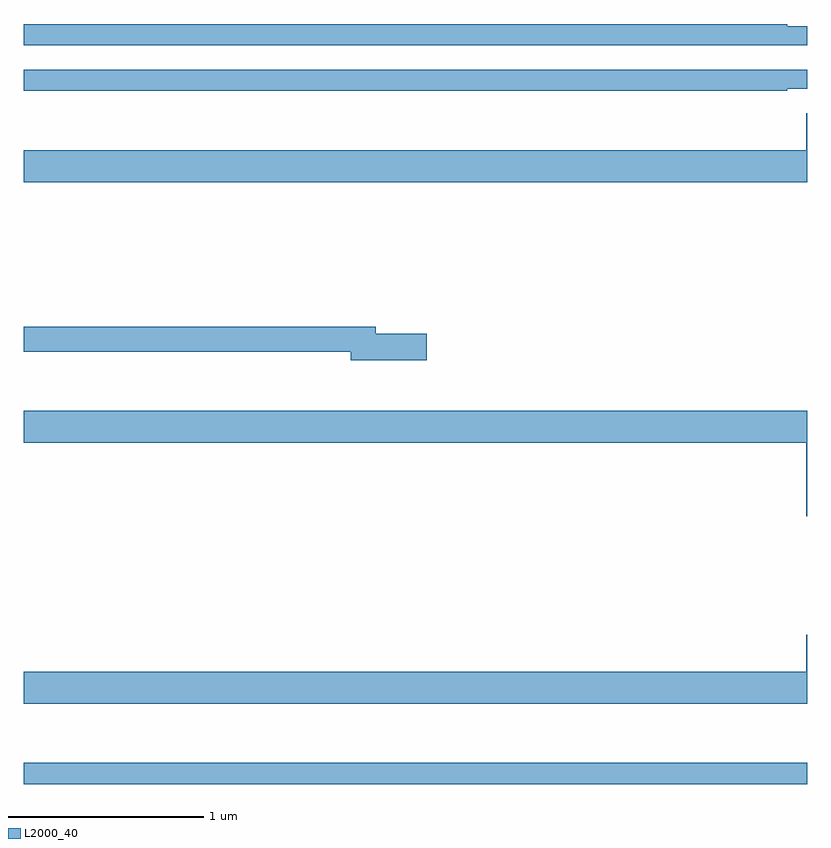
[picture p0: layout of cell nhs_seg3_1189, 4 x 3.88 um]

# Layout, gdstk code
import gdstk
lib = gdstk.Library(unit=1e-6, precision=1e-09)
def R(c, l, rs):  # rectangles x0, y0, x1, y1
    for r in rs: c.add(gdstk.rectangle(r[:2], r[2:], *l))
def P(c, l, *ps):  # polygons
    for p in ps: c.add(gdstk.Polygon(p, *l))
L2000_40 = (2000, 40)

nhs_seg3_1189 = lib.new_cell('nhs_seg3_1189')
R(nhs_seg3_1189, L2000_40, [(173,688.518,177,688.627)])
P(nhs_seg3_1189, L2000_40, [(177,692.389),(176.9,692.389),(176.9,692.4),(173,692.4),(173,692.292),(177,692.292)],
  [(176.9,692.07),(177,692.07),(177,692.166),(173,692.166),(173,692.058),(176.9,692.058)],
  [(177,691.945),(176.996,691.945),(176.996,691.756),(173,691.756),(173,691.592),(177,691.592)],
  [(175.057,690.818),(174.796,690.818),(174.796,690.854),(173,690.854),(173,690.726),(174.668,690.726),(174.668,690.683),(175.057,690.683)],
  [(177,690.424),(173,690.424),(173,690.26),(176.996,690.26),(176.996,689.886),(177,689.886)],
  [(177,689.281),(176.996,689.281),(176.996,689.092),(173,689.092),(173,688.928),(177,688.928)])

lib.write_gds('nhs_seg3_1189.gds')
